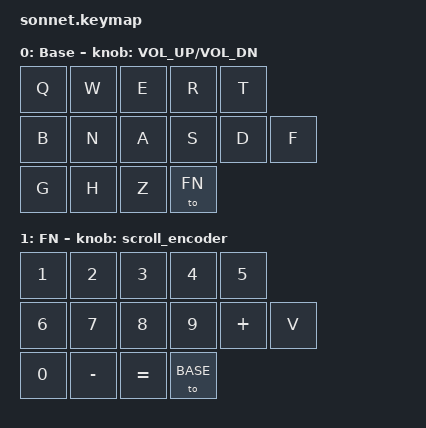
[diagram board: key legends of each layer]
// Sonnet 键盘键位映射
// 14个按键 + EC11编码器
// input-gpios 已按物理布局从上到下、从左到右排列
// position 直接对应物理位置
//
// 第1行: pos0=S1  pos1=S2  pos2=S3  pos3=S4  pos4=S5
// 第2行: pos5=S6  pos6=S7  pos7=S8  pos8=S9  pos9=S11 pos10=S12
// 第3行: pos11=S10 pos12=S13 pos13=S14 pos14=S15(编码器按键)

#include <behaviors.dtsi>
#include <dt-bindings/zmk/keys.h>
#include <dt-bindings/zmk/bt.h>
#include <dt-bindings/zmk/outputs.h>

// 每次 tick 发送滚动值 1: 63 * 16ms / 1000 = 1.008 → 取整为 1
#define ZMK_POINTING_DEFAULT_SCRL_VAL 63

#include <dt-bindings/zmk/pointing.h>

#define BASE 0
#define FN   1

/ {
    // 自定义编码器行为: 鼠标滚轮
    behaviors {
        scroll_encoder: scroll_encoder {
            compatible = "zmk,behavior-sensor-rotate";
            #sensor-binding-cells = <0>;
            bindings = <&msc SCRL_UP>, <&msc SCRL_DOWN>;
            tap-ms = <32>;
        };
    };

    keymap {
        compatible = "zmk,keymap";

        default_layer {
            display-name = "Base";
            bindings = <
                &kp Q    &kp W    &kp E    &kp R    &kp T
                &kp B    &kp N    &kp A    &kp S    &kp D    &kp F
                &kp G    &kp H    &kp Z    &to FN
            >;

            // 编码器旋转: 音量控制
            sensor-bindings = <&inc_dec_kp C_VOL_UP C_VOL_DN>;
        };

        fn_layer {
            display-name = "FN";
            bindings = <
                &kp N1    &kp N2    &kp N3    &kp N4    &kp N5
                &kp N6    &kp N7    &kp N8    &kp N9    &kp PLUS   &kp V
                &kp N0    &kp MINUS &kp EQUAL &to BASE
            >;

            // 编码器旋转: 鼠标滚轮上下滚动
            sensor-bindings = <&scroll_encoder>;
        };
    };
};
